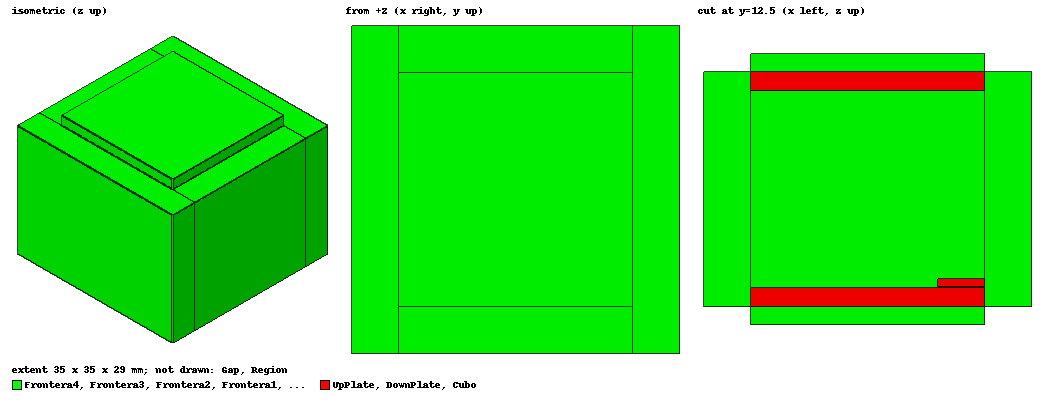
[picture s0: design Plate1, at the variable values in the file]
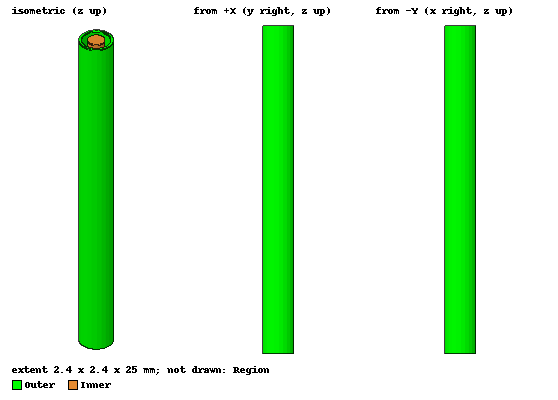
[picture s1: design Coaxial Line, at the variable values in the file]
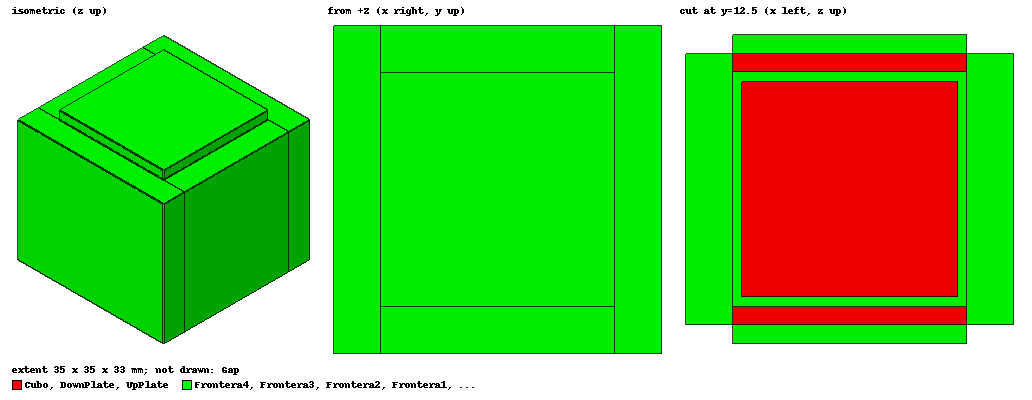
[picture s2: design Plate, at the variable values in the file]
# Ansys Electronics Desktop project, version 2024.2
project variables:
  $b = 7mm
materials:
  vacuum: permittivity=1
  copper: permeability=0.999991 conductivity=58000000
  pec: conductivity=1e+30
  air: permittivity=1.0006 permeability=1.0000004
  PMC: permittivity=1e-05

design Plate1 (Maxwell 3D, Electrostatic, model units mm)
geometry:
  DownPlate [pec] = box(corner=(0mm, 0mm, 0mm), size=(25mm, 25mm, 2mm))
  UpPlate [pec] = box(corner=(0mm, 0mm, 23mm), size=(25mm, 25mm, 2mm))
  Region [vacuum] = region(percentage_offset: +X=200, -X=200, +Y=200, -Y=200, +Z=450, -Z=450)
  Cubo [pec] = box(corner=(0mm, 0mm, 2.1mm), size=(5mm, 5mm, 0.8mm))
  Frontera1 [PMC] = box(corner=(0mm, 0mm, 0mm), size=(25mm, -5mm, 25mm))
  Frontera2 [PMC] = box(corner=(0mm, 0mm, 0mm), size=(25mm, -5mm, 25mm))
  Frontera2.move(0mm, 30mm, 0mm)
  Frontera3 [PMC] = box(corner=(-5mm, 0mm, 0mm), size=(35mm, -5mm, 25mm))
  Frontera3.rotate(axis=Z, angle=90deg)
  Frontera3.move(-5mm, 0mm, 0mm)
  Frontera4 [PMC] = box(corner=(-5mm, 0mm, 0mm), size=(35mm, -5mm, 25mm))
  Frontera4.rotate(axis=Z, angle=90deg)
  Frontera4.move(-5mm, 0mm, 0mm)
  Frontera4.move(30mm, 0mm, 0mm)
  DownPlate1 [PMC] = box(corner=(0mm, 0mm, 0mm), size=(25mm, 25mm, 2mm))
  DownPlate1.move(0mm, 0mm, -2mm)
  DownPlate3 [PMC] = box(corner=(0mm, 0mm, 27mm), size=(25mm, 25mm, 2mm))
  DownPlate3.move(0mm, 0mm, -2mm)
  Gap [vacuum] = box(corner=(0mm, 0mm, 2mm), size=(25mm, 25mm, 21mm))
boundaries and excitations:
  Voltage1: Voltage Objects=DownPlate Voltage=0V
  Voltage2: Voltage Objects=UpPlate Voltage=1V
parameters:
  Matrix1: Matrix Voltage1, Voltage2: NumberOfTurns=1
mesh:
  initial mesh: GlobalSurfApproximation{CurvedSurfaceApproxChoice=UseSlider SliderMeshSettings=9} GlobalCurvilinear{Apply}
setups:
  Setup1: Electrostatic MaximumPasses=15 MinimumPasses=2 MinimumConvergedPasses=1 PercentRefinement=50 PercentError=1 NonLinearResidual=0.001
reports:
  C Table 1: Matrix1.C(Voltage1,Voltage1) vs $b on Setup1 : LastAdaptive
  C Table 2: Matrix1.C(Voltage1,Voltage1) vs $b on Setup1 : LastAdaptive
  C Table 3: Matrix1.C(Voltage2,Voltage1) vs $b on Setup1 : LastAdaptive
  C Table 4: Matrix1.C(Voltage1,Voltage2) vs $b on Setup1 : LastAdaptive
  C Table 5: Matrix1.C(Voltage1,Voltage1) vs $b on Setup1 : LastAdaptive
  C Table 6: Matrix1.C(Voltage2,Voltage2) vs $b on Setup1 : LastAdaptive
  C Table 7: Matrix1.C(Voltage2,Voltage1) vs $b on Setup1 : LastAdaptive
  C Table 8: Matrix1.C(Voltage1,Voltage2) vs $b on Setup1 : LastAdaptive
  C Table 9: Matrix1.C(Voltage1,Voltage1) vs $b on Setup1 : LastAdaptive
  C Table 10: Matrix1.C(Voltage2,Voltage1) vs $b on Setup1 : LastAdaptive
  C Table 11: Matrix1.C(Voltage1,Voltage1) vs $b on Setup1 : LastAdaptive
  C Table 12: Matrix1.C(Voltage2,Voltage1) vs $b on Setup1 : LastAdaptive
  C Table 13: Matrix1.C(Voltage1,Voltage1) vs $b on Setup1 : LastAdaptive
  C Table 14: Matrix1.C(Voltage2,Voltage1) vs $b on Setup1 : LastAdaptive
  C Table 15: Matrix1.C(Voltage1,Voltage2) vs $b on Setup1 : LastAdaptive
  C Table 16: Matrix1.C(Voltage2,Voltage2) vs $b on Setup1 : LastAdaptive
  Coupling Coeff Table 1: Matrix1.CplCoef(Voltage1,Voltage1) vs $b on Setup1 : LastAdaptive
  C Table 17: Matrix1.C(Voltage1,Voltage1) vs $b on Setup1 : LastAdaptive
  C Table 18: Matrix1.C(Voltage2,Voltage1) vs $b on Setup1 : LastAdaptive
  C Table 19: Matrix1.C(Voltage1,Voltage1) vs $b on Setup1 : LastAdaptive
  C Table 20: Matrix1.C(Voltage1,Voltage1) vs $b on Setup1 : LastAdaptive
  C Table 21: Matrix1.C(Voltage1,Voltage1) vs $b on Setup1 : LastAdaptive
  C Table 22: Matrix1.C(Voltage1,Voltage1) vs $b on Setup1 : LastAdaptive

design Coaxial Line (Maxwell 3D, Electrostatic, model units mm)
notes: "\	This example project contains 3 capacitance calculation examples:
"\	- 1: Coaxial Line (analytical comparison)
"\	- 2: Parallel Plate (analytical comparison)
"\	- 3: Parallel Plate with Fringing (realistic model)
"\	The setup for capacitance requires at least 2 voltage sources with different voltage values assigned, and a Capacitance Matrix parameter definition with the voltage excitations selected.
"\	For the cylindrical coaxial line case, the dimensions are:
"\	length L = 25mm
"\	inner radius a = 0.6mm
"\	outer radius b = 1mm
"\	And the capacitance formula is:
"\	C = 2*pi*eps0*L / ln(b/a) = 2.72pF
options: Notes='"	This example project contains 3 capacitance calculation examples: / "	- 1: Coaxial Line (analytical comparison) / "	- 2: Parallel Plate (analytical comparison) / "	- 3: Parallel Plate with Fringing (realistic model) / "	The setup for capacitance requires at least 2 voltage sources with different voltage values assigned, and a Capacitance Matrix parameter definition with the voltage excitations selected. / "	For the cylindrical coaxial line case, the dimensions are: / "	length L = 25mm / "	inner radius a = 0.6mm / "	outer radius b = 1mm / "	And the capacitance formula is: / "	C = 2*pi*eps0*L / ln(b/a) = 2.72pF'
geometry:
  Inner [copper] = polyhedron(axis=Z, centre=(0mm, 0mm, -4mm), first_corner=(0.6mm, 0mm, -4mm), sides=24, height=25mm)
  Gap = polyhedron(axis=Z, centre=(0mm, 0mm, -4mm), first_corner=(1mm, 0mm, -4mm), sides=24, height=25mm)
  Outer [copper] = polyhedron(axis=Z, centre=(0mm, 0mm, -4mm), first_corner=(1.2mm, 0mm, -4mm), sides=24, height=25mm)
  Outer.subtract(Gap)
  Region [vacuum] = region(percentage_offset: +X=300, -X=300, +Y=300, -Y=300, +Z=0, -Z=0)
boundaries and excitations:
  Voltage1: Voltage Objects=Inner Voltage=-1000V
  Voltage2: Voltage Objects=Outer Voltage=1000V
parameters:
  Matrix1: Matrix Voltage1, Voltage2: NumberOfTurns=1
  Force1: Force Reference_CS=Global Is_Virtual=true Objects=Inner
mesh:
  initial mesh: GlobalCurvilinear{Apply}
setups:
  Setup1: Electrostatic MaximumPasses=10 MinimumPasses=2 MinimumConvergedPasses=1 PercentRefinement=50 PercentError=0.05 NonLinearResidual=0.001
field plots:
  E_Vector1: E over a plane on Setup1 : LastAdaptive
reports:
  C Plot 1: Matrix1.C(Voltage1,Voltage1) vs $b on Setup1 : LastAdaptive

design Plate (Maxwell 3D, Electrostatic, model units mm)
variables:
  b = 23mm
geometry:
  DownPlate [pec] = box(corner=(0mm, 0mm, 0mm), size=(25mm, 25mm, 2mm))
  Gap [vacuum] = box(corner=(0mm, 0mm, 2mm), size=(25mm, 25mm, 25mm))
  UpPlate [pec] = box(corner=(0mm, 0mm, 27mm), size=(25mm, 25mm, 2mm))
  Frontera1 [PMC] = box(corner=(0mm, 0mm, 0mm), size=(25mm, -5mm, 29mm))
  Frontera2 [PMC] = box(corner=(0mm, 0mm, 0mm), size=(25mm, -5mm, 29mm))
  Frontera2.move(0mm, 30mm, 0mm)
  Frontera3 [PMC] = box(corner=(-5mm, 0mm, 0mm), size=(35mm, -5mm, 29mm))
  Frontera3.rotate(axis=Z, angle=90deg)
  Frontera3.move(-5mm, 0mm, 0mm)
  Frontera4 [PMC] = box(corner=(-5mm, 0mm, 0mm), size=(35mm, -5mm, 29mm))
  Frontera4.rotate(axis=Z, angle=90deg)
  Frontera4.move(-5mm, 0mm, 0mm)
  Frontera4.move(30mm, 0mm, 0mm)
  DownPlate1 [PMC] = box(corner=(0mm, 0mm, 0mm), size=(25mm, 25mm, 2mm))
  DownPlate1.move(0mm, 0mm, -2mm)
  DownPlate3 [PMC] = box(corner=(0mm, 0mm, 31mm), size=(25mm, 25mm, 2mm))
  DownPlate3.move(0mm, 0mm, -2mm)
  Cubo [PMC] = box(corner=(12.5mm-b/2, 12.5mm-b/2, 14.5mm-b/2), size=(b, b, b))
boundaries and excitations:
  Voltage1: Voltage Objects=DownPlate Voltage=0V
  Voltage2: Voltage Objects=UpPlate Voltage=1V
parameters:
  Matrix1: Matrix Voltage1, Voltage2: NumberOfTurns=1
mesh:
  initial mesh: GlobalCurvilinear{Apply}
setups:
  Setup1: Electrostatic MaximumPasses=15 MinimumPasses=2 MinimumConvergedPasses=1 PercentRefinement=50 PercentError=1 NonLinearResidual=0.001
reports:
  C Table 9: Matrix1.C(Voltage1,Voltage1) vs b on Setup1 : LastAdaptive
